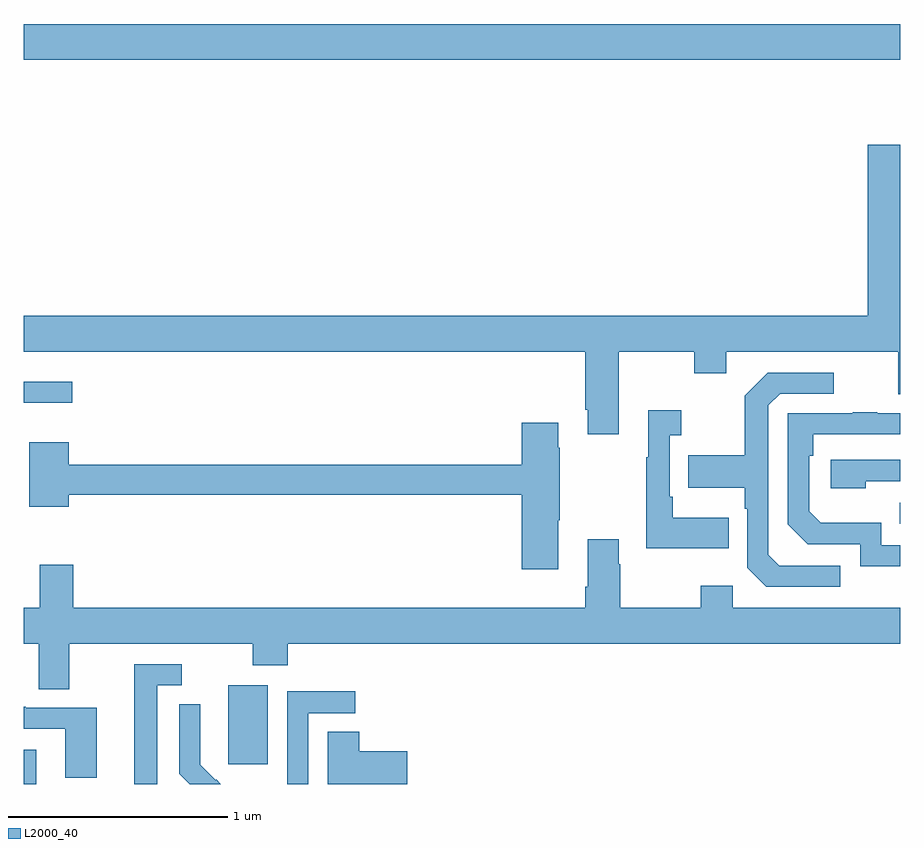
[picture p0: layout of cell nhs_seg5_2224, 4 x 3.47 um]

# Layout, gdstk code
import gdstk
lib = gdstk.Library(unit=1e-6, precision=1e-09)
def R(c, l, rs):  # rectangles x0, y0, x1, y1
    for r in rs: c.add(gdstk.rectangle(r[:2], r[2:], *l))
def P(c, l, *ps):  # polygons
    for p in ps: c.add(gdstk.Polygon(p, *l))
L2000_40 = (2000, 40)

nhs_seg5_2224 = lib.new_cell('nhs_seg5_2224')
R(nhs_seg5_2224, L2000_40, [(241,842.799,241.057,842.956), (241.934,842.889,242.113,843.25), (244.999,843.987,245,844.083), (241,844.539,241.222,844.636), (241,846.104,245,846.268)])
P(nhs_seg5_2224, L2000_40, [(243.715,844.772),(244.06,844.772),(244.06,844.673),(244.207,844.673),(244.207,844.772),(244.991,844.772),(244.991,844.578),(245,844.578),(245,845.716),(244.853,845.716),(244.853,844.936),(241,844.936),(241,844.772),(243.563,844.772),(243.563,844.507),(243.575,844.507),(243.575,844.395),(243.715,844.395)],
  [(244.726,843.795),(244.449,843.795),(244.398,843.846),(244.398,844.527),(244.452,844.581),(244.696,844.581),(244.696,844.677),(244.395,844.677),(244.29,844.571),(244.29,844.299),(244.033,844.299),(244.033,844.151),(244.29,844.151),(244.29,844.055),(244.302,844.055),(244.302,843.786),(244.389,843.699),(244.726,843.699)],
  [(244.217,844.015),(243.961,844.015),(243.961,844.111),(243.948,844.111),(243.948,844.391),(244,844.391),(244,844.504),(243.851,844.504),(243.851,844.291),(243.84,844.291),(243.84,843.875),(244.217,843.875)],
  [(245,843.888),(244.914,843.888),(244.914,843.991),(244.637,843.991),(244.584,844.044),(244.584,844.298),(244.604,844.298),(244.604,844.395),(245,844.395),(245,844.491),(244.895,844.491),(244.895,844.496),(244.783,844.496),(244.783,844.491),(244.488,844.491),(244.488,843.984),(244.578,843.894),(244.818,843.894),(244.818,843.792),(245,843.792)],
  [(243.439,844.003),(243.447,844.003),(243.447,844.334),(243.439,844.334),(243.439,844.447),(243.272,844.447),(243.272,844.256),(241.204,844.256),(241.204,844.36),(241.025,844.36),(241.025,844.064),(241.204,844.064),(241.204,844.12),(243.272,844.12),(243.272,843.78),(243.439,843.78)],
  [(244.844,844.182),(245,844.182),(245,844.278),(244.683,844.278),(244.683,844.148),(244.844,844.148)],
  [(241.207,843.44),(242.044,843.44),(242.044,843.341),(242.204,843.341),(242.204,843.44),(245,843.44),(245,843.604),(244.236,843.604),(244.236,843.703),(244.09,843.703),(244.09,843.604),(243.723,843.604),(243.723,843.803),(243.715,843.803),(243.715,843.916),(243.575,843.916),(243.575,843.7),(243.563,843.7),(243.563,843.604),(241.226,843.604),(241.226,843.799),(241.073,843.799),(241.073,843.604),(241,843.604),(241,843.44),(241.067,843.44),(241.067,843.232),(241.207,843.232)],
  [(241.609,843.249),(241.72,843.249),(241.72,843.345),(241.505,843.345),(241.505,842.799),(241.609,842.799)],
  [(242.298,843.123),(242.512,843.123),(242.512,843.222),(242.202,843.222),(242.202,842.799),(242.298,842.799)],
  [(241.878,842.82),(241.875,842.817),(241.805,842.888),(241.805,843.01),(241.806,843.01),(241.806,843.164),(241.71,843.164),(241.71,842.846),(241.757,842.799),(241.899,842.799)],
  [(241.333,843.147),(241.009,843.147),(241.009,843.151),(241,843.151),(241,843.051),(241.188,843.051),(241.188,842.827),(241.333,842.827)],
  [(242.749,842.948),(242.531,842.948),(242.531,843.038),(242.387,843.038),(242.387,842.799),(242.749,842.799)])

lib.write_gds('nhs_seg5_2224.gds')
